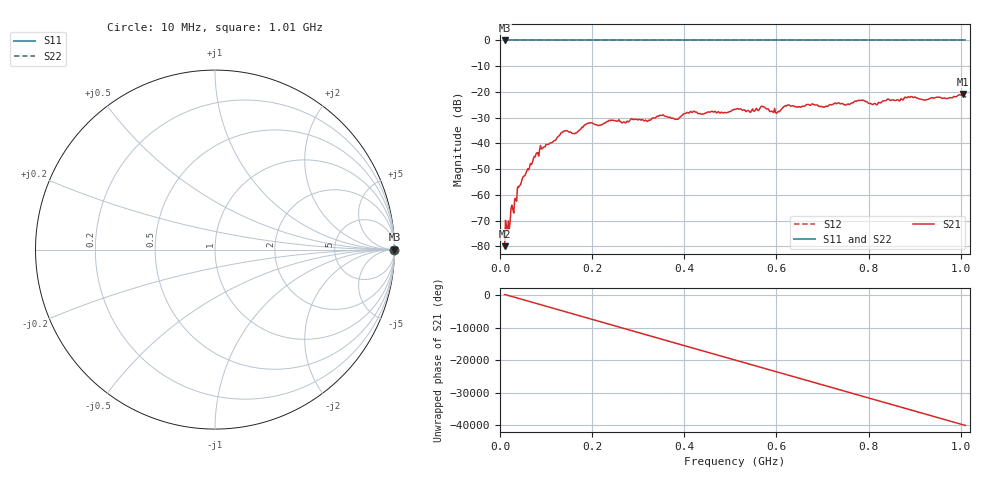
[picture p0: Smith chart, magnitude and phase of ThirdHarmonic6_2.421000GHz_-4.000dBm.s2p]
! 8/17/2025 4:07:36 AM
! C:\ANRITSUVNA\TEMP\TEMP.S2P
! CHANNEL.1
! TR.MEASUREMENT
! RAW.DATA
! RF.CORRECTION.OFF
! AVERAGING.OFF
! IF.BANDWIDTH: 5KHZ
! SWEEPTYPE:  FREQ.SWEEP(Linear)
! Reference Plane Port Info
! PORT:  PORT1  PORT2
! DISTANCE:  0  m  0  m
! TIME:  0  s  0  s
! PHASE.OFFSET:  0  deg.  0  deg.
! LOSS:  0  dB  0  dB
! REF.LOSS:  0  dB  0  dB
! REF.FREQ:  0  Hz  0  Hz
! Power Info
! POWER:  -20  dBm  -20  dBm
! EFF.POWER:  -20  dBm  -20  dBm
! SOURCE.ATTEN:  0  dB  0  dB
! TEST.ATTEN:  0  dB  0  dB
# GHZ S RI R 50.0
! FREQ.GHZ  S11RE  S11IM  S21RE  S21IM  S12RE  S12IM  S22RE  S22IM
!; PortSelection: Port_12
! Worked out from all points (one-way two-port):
!   501 points, 10 MHz to 1.01 GHz, reference 50 ohm
!   highest |S21| = -20.82 dB at 1.004 GHz (marker M1); lowest = -79.9 dB at 10 MHz (marker M2)
!   lowest |S11| = 0.0 dB at 10 MHz (marker M3)
!   |S11| at or under -10 dB: nowhere
!   |S22| runs from 0.0 to 0.0 dB; largest |S21 - S12| = 1.1
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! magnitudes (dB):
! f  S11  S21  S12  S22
! 10 MHz  0.0  -79.9  0.0  0.0
! 42 MHz  0.0  -56.4  0.0  0.0
! 78 MHz  0.0  -44.2  0.0  0.0
! 136 MHz  0.0  -35.6  0.0  0.0
! 162 MHz  0.0  -36.2  0.0  0.0
! 178 MHz  0.0  -33.7  0.0  0.0
! 194 MHz  0.0  -32.1  0.0  0.0
! 322 MHz  0.0  -31.1  0.0  0.0
! 344 MHz  0.0  -29.5  0.0  0.0
! 382 MHz  0.0  -30.6  0.0  0.0
! 416 MHz  0.0  -27.9  0.0  0.0
! 510 MHz  0.0  -26.7  0.0  0.0
! 570 MHz  0.0  -25.6  0.0  0.0
! 602 MHz  0.0  -28.0  0.0  0.0
! 622 MHz  0.0  -25.4  0.0  0.0
! 678 MHz  0.0  -24.6  0.0  0.0
! 702 MHz  0.0  -25.9  0.0  0.0
! 782 MHz  0.0  -23.3  0.0  0.0
! 814 MHz  0.0  -24.5  0.0  0.0
! 844 MHz  0.0  -22.9  0.0  0.0
! 1.004 GHz  0.0  -20.8  0.0  0.0
! 1.01 GHz  0.0  -22.0  0.0  0.0
